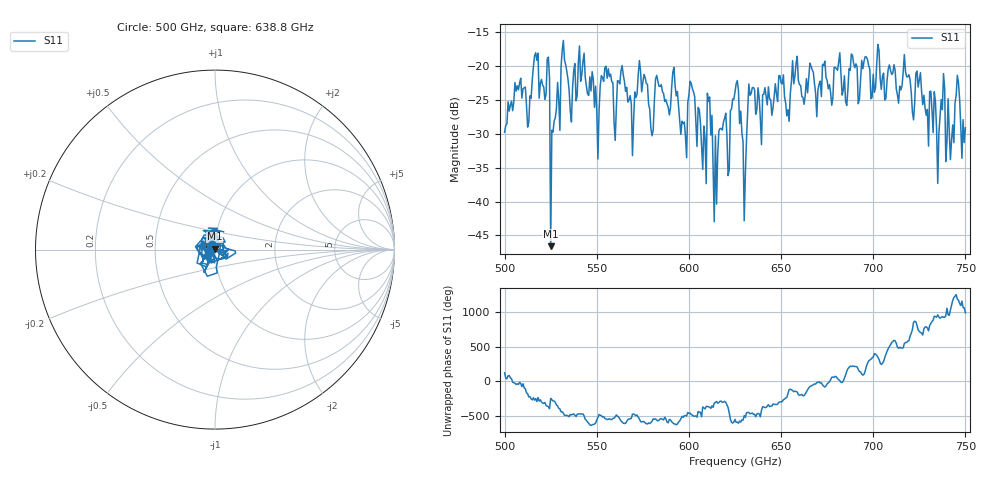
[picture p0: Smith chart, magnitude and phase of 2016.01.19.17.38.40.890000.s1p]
!Created with skrf (http://scikit-rf.org).
# GHz S RI R 50.0
!freq ReS11 ImS11
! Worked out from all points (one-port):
!   401 points, 500 GHz to 750 GHz, reference 50 ohm
!   lowest |S11| = -46.6 dB at 525 GHz (marker M1), VSWR 1.01, Z = 49.8 + j0.441 ohm
!   |S11| at or under -10 dB: start of sweep to end of sweep
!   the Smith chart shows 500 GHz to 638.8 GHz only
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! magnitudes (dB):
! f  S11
! 500 GHz  -29.8
! 506.9 GHz  -22.9
! 513.1 GHz  -28.3
! 516.9 GHz  -18.0
! 523.1 GHz  -19.0
! 525 GHz  -46.6
! 526.2 GHz  -29.7
! 531.2 GHz  -17.7
! 541.9 GHz  -21.3
! 550 GHz  -26.6
! 562.5 GHz  -22.6
! 568.8 GHz  -25.6
! 573.8 GHz  -20.7
! 579.4 GHz  -29.2
! 583.1 GHz  -22.2
! 593.8 GHz  -23.8
! 597.5 GHz  -28.3
! 601.9 GHz  -23.3
! 608.1 GHz  -28.9
! 611.2 GHz  -24.6
! 614.4 GHz  -30.3
! 625 GHz  -23.8
! 630 GHz  -42.8
! 633.8 GHz  -24.1
! 656.2 GHz  -19.2
! 687.5 GHz  -20.6
! 718.8 GHz  -21.6
! 750 GHz  -29.1
